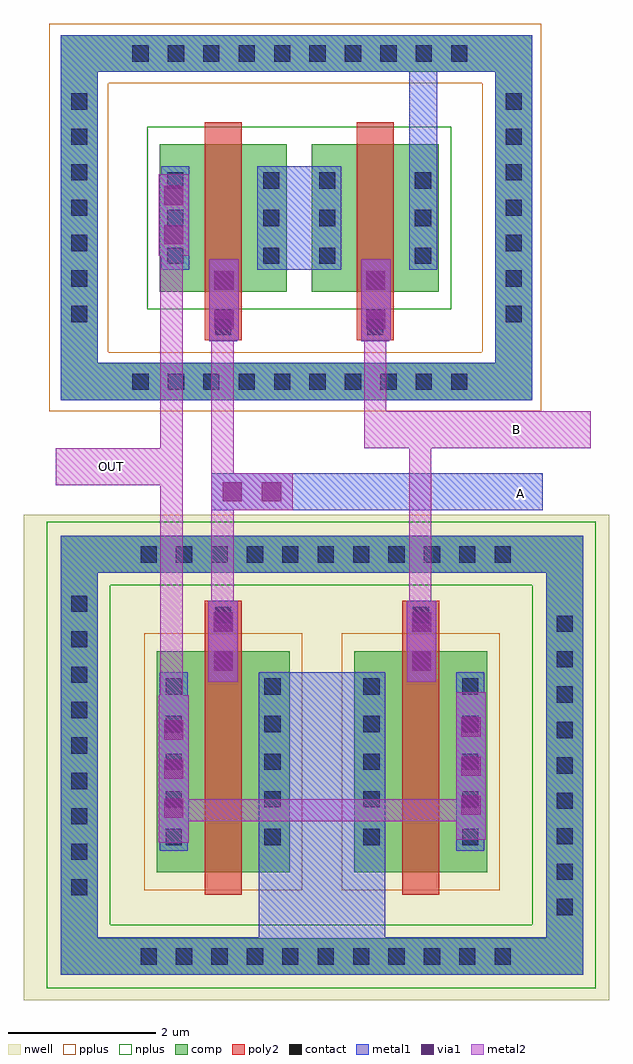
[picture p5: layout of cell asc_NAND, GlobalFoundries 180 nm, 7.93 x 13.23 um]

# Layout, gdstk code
from math import pi, radians
import gdstk
lib = gdstk.Library(unit=1e-6, precision=5e-09)
def R(c, l, rs):  # rectangles x0, y0, x1, y1
    for r in rs: c.add(gdstk.rectangle(r[:2], r[2:], *l))
def A(c, l, x, y, w, h, nx, ny, dx, dy):  # array of equal rectangles
    R(c, l, [(x+i*dx, y+j*dy, x+i*dx+w, y+j*dy+h) for i in range(nx) for j in range(ny)])
def P(c, l, *ps):  # polygons
    for p in ps: c.add(gdstk.Polygon(p, *l))
nwell = (21, 0)
comp = (22, 0)
poly2 = (30, 0)
pplus = (31, 0)
nplus = (32, 0)
contact = (33, 0)
metal1 = (34, 0)
via1 = (35, 0)
metal2 = (36, 0)

via_dev_6 = lib.new_cell('via_dev$6')
R(via_dev_6, comp, [(0,0,0.5,4.5)])
A(via_dev_6, contact, 0.14, 0.22, 0.22, 0.22, 1, 9, 0, 0.48)
R(via_dev_6, metal1, [(0,0,0.5,4.5)])

via_dev_9 = lib.new_cell('via_dev$9')
R(via_dev_9, metal1, [(0,0,0.5,1.1)])
R(via_dev_9, via1, [(0.12,0.155,0.38,0.415), (0.12,0.685,0.38,0.945)])
R(via_dev_9, metal2, [(0,0,0.5,1.1)])

nfet_2 = lib.new_cell('nfet$2')
R(nfet_2, comp, [(-0.42,0,0,2), (0,0,0.88,2), (0.88,0,1.3,2)])
R(nfet_2, poly2, [(0.19,-0.3,0.69,2.3), (0.19,2.3,0.69,2.66)])
R(nfet_2, nplus, [(-0.59,-0.24,1.47,2.24)])
A(nfet_2, contact, -0.32, 0.38, 0.22, 0.22, 1, 3, 0, 0.51)
A(nfet_2, contact, 0.98, 0.38, 0.22, 0.22, 1, 3, 0, 0.51)
R(nfet_2, contact, [(0.33,2.37,0.55,2.59)])
R(nfet_2, metal1, [(-0.4,0.3,-0.02,1.7), (0.9,0.3,1.28,1.7), (0.25,2.29,0.63,2.67)])

pfet_2 = lib.new_cell('pfet$2')
R(pfet_2, nwell, [(-0.9,-0.44,1.78,3.44)])
R(pfet_2, comp, [(-0.46,0,0,3), (0,0,0.88,3), (0.88,0,1.34,3)])
R(pfet_2, poly2, [(0.19,-0.68,0.69,-0.3), (0.19,-0.3,0.69,3.3)])
R(pfet_2, pplus, [(-0.63,-0.24,1.51,3.24)])
A(pfet_2, contact, -0.34, 0.37, 0.22, 0.22, 1, 5, 0, 0.51)
A(pfet_2, contact, 1, 0.37, 0.22, 0.22, 1, 5, 0, 0.51)
R(pfet_2, contact, [(0.33,-0.6,0.55,-0.38)])
R(pfet_2, metal1, [(0.25,-0.68,0.63,-0.3), (-0.42,0.29,-0.04,2.71), (0.92,0.29,1.3,2.71)])

via_dev_8 = lib.new_cell('via_dev$8')
R(via_dev_8, comp, [(0,0,0.5,3.5)])
A(via_dev_8, contact, 0.14, 0.2, 0.22, 0.22, 1, 7, 0, 0.48)
R(via_dev_8, metal1, [(0,0,0.5,3.5)])

via_dev_7 = lib.new_cell('via_dev$7')
R(via_dev_7, comp, [(0,0,0.5,5)])
A(via_dev_7, contact, 0.14, 0.23, 0.22, 0.22, 1, 10, 0, 0.48)
R(via_dev_7, metal1, [(0,0,0.5,5)])

via_dev_5 = lib.new_cell('via_dev$5')
R(via_dev_5, comp, [(0,0,0.5,5.5)])
A(via_dev_5, contact, 0.14, 0.24, 0.22, 0.22, 1, 11, 0, 0.48)
R(via_dev_5, metal1, [(0,0,0.5,5.5)])

via_dev_3 = lib.new_cell('via_dev$3')
R(via_dev_3, metal1, [(0,0,0.4,1.1)])
R(via_dev_3, via1, [(0.07,0.155,0.33,0.415), (0.07,0.685,0.33,0.945)])
R(via_dev_3, metal2, [(0,0,0.4,1.1)])

via_dev_4 = lib.new_cell('via_dev$4')
R(via_dev_4, metal1, [(0,0,0.4,2)])
A(via_dev_4, via1, 0.07, 0.34, 0.26, 0.26, 1, 3, 0, 0.53)
R(via_dev_4, metal2, [(0,0,0.4,2)])

asc_nand = lib.new_cell('asc_NAND')
R(asc_nand, nwell, [(-4.045,-15.98,3.885,-9.4)])
R(asc_nand, comp, [(-3.545,-15.64,-3.045,-14.78), (-3.545,-15.64,-2.705,-15.14), (2.795,-15.64,3.035,-15.14), (3.035,-15.64,3.535,-15.05), (3.035,-10.55,3.535,-9.69), (-3.545,-10.28,-3.045,-9.69), (-3.045,-10.19,-2.705,-9.69), (2.795,-10.19,3.535,-9.69), (-3.545,-7.85,-3.045,-6.99), (-3.545,-7.85,-2.805,-7.35), (2.195,-7.85,2.845,-7.35), (2.345,-7.35,2.845,-6.99), (-3.545,-3.49,-3.045,-2.9), (2.345,-3.49,2.845,-2.9), (-3.045,-3.4,-2.805,-2.9), (2.195,-3.4,2.345,-2.9)])
P(asc_nand, nplus, [(-3.735,-15.82),(-3.735,-15.55),(-3.735,-14.96),(3.705,-14.96),(3.705,-15.82)],
  [(-3.735,-10.36),(-3.735,-10.09),(-3.735,-9.5),(3.705,-9.5),(3.705,-10.36)],
  [(-3.735,-15.74),(-3.735,-9.5),(-3.595,-9.5),(-2.875,-9.5),(-2.875,-15.74)],
  [(2.845,-15.74),(2.845,-9.5),(2.985,-9.5),(3.705,-9.5),(3.705,-15.74)])
R(asc_nand, metal1, [(-3.545,-15.64,-2.705,-15.14), (-3.545,-15.64,3.535,-15.13), (2.795,-15.64,3.535,-15.14), (-3.545,-15.63,-3.045,-14.78), (3.035,-15.63,3.535,-15.05), (-0.865,-15.59,0.855,-11.54), (3.035,-10.55,3.535,-9.7), (-3.545,-10.28,-3.045,-9.7), (-3.545,-10.19,-2.705,-9.69), (2.795,-10.19,3.535,-9.69), (-3.545,-7.85,-2.755,-7.35), (-3.545,-7.85,-3.045,-2.9), (-3.545,-7.85,2.845,-7.34), (2.195,-7.85,2.845,-7.35), (-3.545,-7.84,-3.045,-6.99), (2.345,-7.35,2.845,-6.99), (2.345,-7.35,2.845,-2.9), (-0.885,-6.08,0.255,-4.68), (-3.545,-3.49,-3.045,-2.91), (2.345,-3.49,2.845,-2.9), (-3.545,-3.4,-2.805,-2.9), (-3.545,-3.4,2.845,-2.9), (2.195,-3.4,2.845,-2.9)])
P(asc_nand, metal1, [(-1.505,-9.34),(-1.505,-8.84),(2.985,-8.84),(2.985,-9.13),(2.985,-9.34)],
  [(1.175,-6.08),(1.175,-3.04),(1.415,-3.04),(1.555,-3.04),(1.555,-6.08)])
asc_nand.add(gdstk.FlexPath([(0.565,-8.25),(3.635,-8.25)], 0.5, ends="flush", simple_path=True, layer=36, datatype=0))  # metal2
asc_nand.add(gdstk.FlexPath([(-1.355,-6.75),(-1.355,-10.81)], 0.3, ends="flush", simple_path=True, layer=36, datatype=0))  # metal2
asc_nand.add(gdstk.FlexPath([(0.715,-6.75),(0.715,-8.3)], 0.3, ends="flush", simple_path=True, layer=36, datatype=0))  # metal2
asc_nand.add(gdstk.FlexPath([(1.325,-10.83),(1.325,-8)], 0.3, ends="flush", simple_path=True, layer=36, datatype=0))  # metal2
asc_nand.add(gdstk.FlexPath([(0.565,-8.15),(1.475,-8.15)], 0.3, ends="flush", simple_path=True, layer=36, datatype=0))  # metal2
asc_nand.add(gdstk.FlexPath([(-2.045,-5.78),(-2.045,-13.41)], 0.3, ends="flush", simple_path=True, layer=36, datatype=0))  # metal2
asc_nand.add(gdstk.FlexPath([(2.005,-11.84),(2.005,-13.47)], 0.3, ends="flush", simple_path=True, layer=36, datatype=0))  # metal2
asc_nand.add(gdstk.FlexPath([(2.005,-13.41),(-2.145,-13.41)], 0.3, ends="flush", simple_path=True, layer=36, datatype=0))  # metal2
asc_nand.add(gdstk.FlexPath([(-2.045,-8.75),(-3.615,-8.75)], 0.5, ends="flush", simple_path=True, layer=36, datatype=0))  # metal2
asc_nand.add(gdstk.FlexPath([(-3.705,-7.6),(2.965,-7.6)], 0.8, ends="flush", simple_path=True, layer=31, datatype=0))  # pplus
asc_nand.add(gdstk.FlexPath([(2.565,-8),(2.565,-2.75)], 0.8, ends="flush", simple_path=True, layer=31, datatype=0))  # pplus
asc_nand.add(gdstk.FlexPath([(-3.705,-3.15),(2.965,-3.15)], 0.8, ends="flush", simple_path=True, layer=31, datatype=0))  # pplus
asc_nand.add(gdstk.FlexPath([(-3.305,-8),(-3.305,-2.75)], 0.8, ends="flush", simple_path=True, layer=31, datatype=0))  # pplus
asc_nand.add(gdstk.Reference(via_dev_6, (3.535,-15.05), rotation=pi, x_reflection=True))
asc_nand.add(gdstk.Reference(via_dev_9, (-1.505,-8.84), rotation=3*pi/2))
asc_nand.add(gdstk.Reference(nfet_2, (-1.785,-4.38), x_reflection=True))
asc_nand.add(gdstk.Reference(nfet_2, (0.275,-4.38), x_reflection=True))
asc_nand.add(gdstk.Reference(pfet_2, (0.895,-11.25), x_reflection=True))
asc_nand.add(gdstk.Reference(pfet_2, (-1.785,-11.25), x_reflection=True))
asc_nand.add(gdstk.Reference(via_dev_8, (-3.545,-3.49), x_reflection=True))
asc_nand.add(gdstk.Reference(via_dev_8, (2.345,-3.49), x_reflection=True))
asc_nand.add(gdstk.Reference(via_dev_7, (2.195,-2.9), rotation=3*pi/2, x_reflection=True))
asc_nand.add(gdstk.Reference(via_dev_7, (2.195,-7.35), rotation=3*pi/2, x_reflection=True))
asc_nand.add(gdstk.Reference(via_dev_6, (-3.545,-10.28), x_reflection=True))
asc_nand.add(gdstk.Reference(via_dev_5, (2.795,-9.69), rotation=3*pi/2, x_reflection=True))
asc_nand.add(gdstk.Reference(via_dev_5, (2.795,-15.14), rotation=3*pi/2, x_reflection=True))
asc_nand.add(gdstk.Reference(via_dev_3, (-2.215,-4.79), x_reflection=True))
asc_nand.add(gdstk.Reference(via_dev_4, (-2.215,-11.85), x_reflection=True))
asc_nand.add(gdstk.Reference(via_dev_4, (1.815,-11.81), x_reflection=True))
asc_nand.add(gdstk.Reference(via_dev_3, (-1.545,-10.57), x_reflection=True))
asc_nand.add(gdstk.Reference(via_dev_3, (-1.535,-5.94), x_reflection=True))
asc_nand.add(gdstk.Reference(via_dev_3, (1.145,-10.57), x_reflection=True))
asc_nand.add(gdstk.Reference(via_dev_3, (0.525,-5.94), x_reflection=True))
asc_nand.add(gdstk.Label('A', (2.685,-9.11), layer=34, texttype=10))
asc_nand.add(gdstk.Label('OUT', (-2.855,-8.75), layer=34, texttype=10))
asc_nand.add(gdstk.Label('B', (2.625,-8.25), layer=36, texttype=10))

lib.write_gds('asc_NAND.gds')
